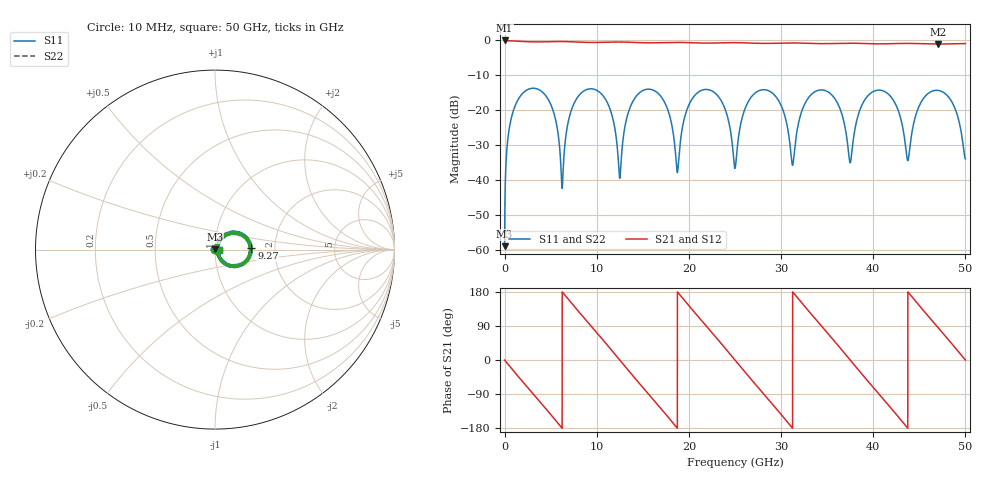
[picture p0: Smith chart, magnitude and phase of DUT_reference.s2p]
! DUT seul, reference exacte : DUT : Zc=62.0 ohm, 80 ps, 0.4 dB@10GHz
! Frequency(Hz) S11 S21 S12 S22 (Re Im)
# Hz S RI R 50
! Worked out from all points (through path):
!   5000 points, 10 MHz to 50 GHz, reference 50 ohm
!   highest |S21| = -0.01 dB at 10 MHz (marker M1); lowest = -1.0 dB at 46.99 GHz (marker M2)
!   group delay of S21, straight-line fit = 80 ps
!   lowest |S11| = -58.9 dB at 10 MHz (marker M3), VSWR 1.00, Z = 50 + j0.109 ohm
!   |S11| at or under -10 dB: start of sweep to end of sweep
!   |S22| runs from -58.9 to -13.7 dB; largest |S21 - S12| = 0
!   S11 on the Smith chart (normalised r, x): 10 MHz: 1.00, +0.00; 9.27 GHz: 1.51, +0.03; 50 GHz: 1.04, -0.00
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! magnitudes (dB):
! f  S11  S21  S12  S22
! 10 MHz  -58.9  0.0  0.0  -58.9
! 470 MHz  -26.0  -0.1  -0.1  -26.0
! 1.62 GHz  -16.3  -0.3  -0.3  -16.3
! 4.7 GHz  -16.7  -0.4  -0.4  -16.7
! 6.25 GHz  -42.4  -0.3  -0.3  -42.4
! 8.35 GHz  -15.0  -0.5  -0.5  -15.0
! 9.27 GHz  -13.9  -0.6  -0.6  -13.9
! 12.5 GHz  -39.5  -0.5  -0.5  -39.5
! 13.94 GHz  -17.4  -0.6  -0.6  -17.4
! 16.68 GHz  -15.2  -0.7  -0.7  -15.2
! 18.73 GHz  -37.7  -0.6  -0.6  -37.7
! 21.82 GHz  -14.0  -0.8  -0.8  -14.0
! 25.01 GHz  -36.7  -0.6  -0.6  -36.7
! 27.15 GHz  -15.1  -0.8  -0.8  -15.1
! 29.73 GHz  -17.2  -0.8  -0.8  -17.2
! 31.25 GHz  -35.8  -0.7  -0.7  -35.8
! 33.34 GHz  -15.3  -0.9  -0.9  -15.3
! 37.5 GHz  -35.1  -0.8  -0.8  -35.1
! 41.67 GHz  -15.4  -1.0  -1.0  -15.4
! 43.75 GHz  -34.4  -0.9  -0.9  -34.4
! 46.99 GHz  -14.3  -1.0  -1.0  -14.3
! 50 GHz  -33.9  -0.9  -0.9  -33.9
